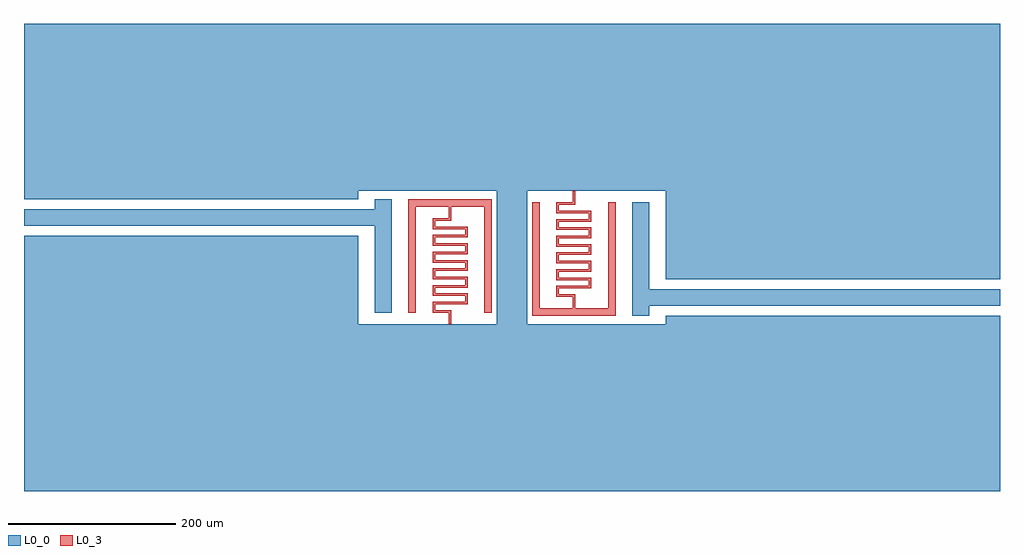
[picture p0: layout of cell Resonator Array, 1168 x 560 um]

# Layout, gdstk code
import gdstk
lib = gdstk.Library(unit=1e-6, precision=1e-09)
def P(c, l, *ps):  # polygons
    for p in ps: c.add(gdstk.Polygon(p, *l))
L0_0 = (0, 0)
L0_3 = (0, 3)

resonator_array = lib.new_cell('Resonator Array')
P(resonator_array, L0_0, [(658,-140),(258,-140),(258,-150),(92,-150),(92,10),(258,10),(258,-96),(658,-96),(658,210),(-510,210),(-510,0),(-110,0),(-110,10),(56,10),(56,-150),(-110,-150),(-110,-44),(-510,-44),(-510,-350),(658,-350)],
  [(-70,0),(-90,0),(-90,-12),(-510,-12),(-510,-32),(-90,-32),(-90,-136),(-70,-136)],
  [(238,-128),(658,-128),(658,-108),(238,-108),(238,-4),(218,-4),(218,-140),(238,-140)])
P(resonator_array, L0_3, [(-50,-136),(-41,-136),(-41,-9),(41,-9),(41,-136),(50,-136),(50,0),(-50,0)],
  [(1.5,-9),(-1.5,-9),(-1.5,-23),(-21,-23),(-21,-36),(0,-36),(18,-36),(18,-43),(0,-43),(-21,-43),(-21,-56),(0,-56),(18,-56),(18,-63),(0,-63),(-21,-63),(-21,-76),(0,-76),(18,-76),(18,-83),(0,-83),(-21,-83),(-21,-96),(0,-96),(18,-96),(18,-103),(0,-103),(-21,-103),(-21,-116),(0,-116),(18,-116),(18,-123),(0,-123),(-21,-123),(-21,-136),(-1.5,-136),(-1.5,-150),(1.5,-150),(1.5,-133),(-18,-133),(-18,-126),(0,-126),(21,-126),(21,-113),(0,-113),(-18,-113),(-18,-106),(0,-106),(21,-106),(21,-93),(0,-93),(-18,-93),(-18,-86),(0,-86),(21,-86),(21,-73),(0,-73),(-18,-73),(-18,-66),(0,-66),(21,-66),(21,-53),(0,-53),(-18,-53),(-18,-46),(0,-46),(21,-46),(21,-33),(0,-33),(-18,-33),(-18,-26),(1.5,-26)],
  [(107,-4),(98,-4),(98,-140),(198,-140),(198,-4),(189,-4),(189,-131),(107,-131)],
  [(146.5,-131),(149.5,-131),(149.5,-114),(130,-114),(130,-107),(148,-107),(169,-107),(169,-94),(148,-94),(130,-94),(130,-87),(148,-87),(169,-87),(169,-74),(148,-74),(130,-74),(130,-67),(148,-67),(169,-67),(169,-54),(148,-54),(130,-54),(130,-47),(148,-47),(169,-47),(169,-34),(148,-34),(130,-34),(130,-27),(148,-27),(169,-27),(169,-14),(148,-14),(130,-14),(130,-7),(149.5,-7),(149.5,10),(146.5,10),(146.5,-4),(127,-4),(127,-17),(148,-17),(166,-17),(166,-24),(148,-24),(127,-24),(127,-37),(148,-37),(166,-37),(166,-44),(148,-44),(127,-44),(127,-57),(148,-57),(166,-57),(166,-64),(148,-64),(127,-64),(127,-77),(148,-77),(166,-77),(166,-84),(148,-84),(127,-84),(127,-97),(148,-97),(166,-97),(166,-104),(148,-104),(127,-104),(127,-117),(146.5,-117)])

lib.write_gds('Resonator_Array.gds')
